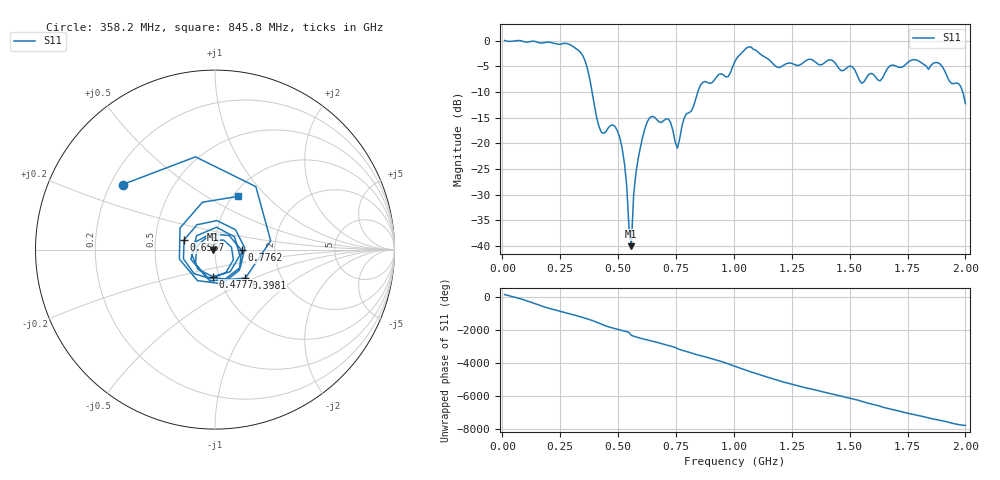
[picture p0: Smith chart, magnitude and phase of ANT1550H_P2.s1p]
!Created with skrf (http://scikit-rf.org).
# Hz S RI R 50.0
!freq ReS11 ImS11
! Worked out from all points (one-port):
!   201 points, 10 MHz to 2 GHz, reference 50 ohm
!   lowest |S11| = -40.0 dB at 557.2 MHz (marker M1), VSWR 1.02, Z = 49 - j0.0908 ohm
!   |S11| at or under -10 dB: 387.9 MHz to 844.4 MHz (456.5 MHz wide, 74.1 % of centre); 1.989 GHz to end of sweep
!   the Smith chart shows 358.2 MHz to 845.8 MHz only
!   S11 on the Smith chart (normalised r, x): 358.2 MHz: 0.25, +0.30; 398.1 MHz: 1.32, -0.44; 477.6 MHz: 0.93, -0.29; 656.8 MHz: 0.70, +0.08; 776.1 MHz: 1.35, -0.01; 845.8 MHz: 1.06, +0.70
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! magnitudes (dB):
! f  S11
! 10 MHz  0.0
! 258.8 MHz  -0.6
! 358.2 MHz  -4.0
! 398.1 MHz  -12.7
! 427.9 MHz  -17.8
! 477.6 MHz  -16.4
! 507.5 MHz  -18.9
! 527.4 MHz  -23.8
! 537.4 MHz  -28.3
! 547.3 MHz  -36.6
! 557.2 MHz  -40.0
! 567.2 MHz  -30.1
! 587.1 MHz  -22.9
! 626.9 MHz  -15.7
! 656.8 MHz  -14.9
! 716.5 MHz  -15.2
! 756.2 MHz  -20.9
! 776.1 MHz  -16.6
! 845.8 MHz  -9.8
! 975.1 MHz  -7.0
! 1.005 GHz  -4.0
! 1.065 GHz  -1.2
! 1.254 GHz  -4.5
! 1.502 GHz  -4.9
! 1.552 GHz  -8.3
! 1.751 GHz  -4.2
! 1.891 GHz  -4.5
! 2 GHz  -12.2
